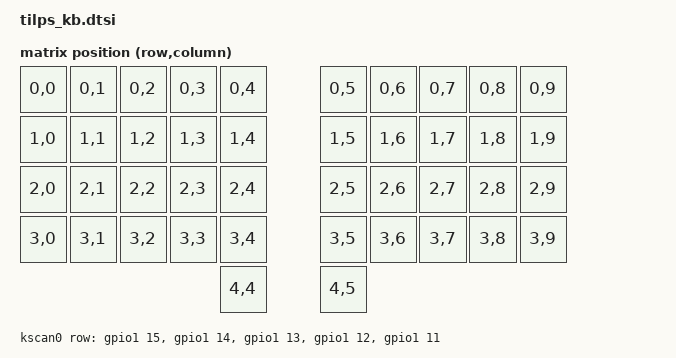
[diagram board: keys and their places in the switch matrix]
/*
 * Tilps KB — shared shield definition
 *
 * Hardware:  XIAO nRF52840 (both halves, same PCB mirrored)
 * Matrix:    5 rows × 5 cols per half (21 keys per half, 42 total)
 *            Rows   : P1.15 P1.14 P1.13 P1.12 P1.11
 *            Cols   : P0.03 P0.28 P0.29 P0.04 P0.05
 *            Diodes : column-to-row (col2row)
 *
 * Key layout (42 keys):
 *  Row 0 :  Q    W    E    R    T  |  Y    U    I    O    P
 *  Row 1 :  A    S    D    F    G  |  H    J    K    L    ;
 *  Row 2 :  Z    X    C    V    B  |  N    M    ,    .    /
 *  Row 3 :  LSft Tab  LCt  LAlt GUI|  Spc  Ret  BSp  Del  RAlt
 *  Thumb :                   MO(1) |  MO(2)
 */

#include <dt-bindings/zmk/matrix_transform.h>

/ {
    chosen {
        zmk,kscan = &kscan0;
        zmk,matrix_transform = &default_transform;
    };

    /*
     * Combined 5-row × 10-column transform.
     * Left  half → columns 0-4  (col 0 = outermost, col 4 = innermost)
     * Right half → columns 5-9  (col 5 = innermost, col 9 = outermost)
     * Thumb keys: RC(4,4) = left thumb, RC(4,5) = right thumb
     */
    default_transform: keymap_transform_0 {
        compatible = "zmk,matrix-transform";
        columns = <10>;
        rows = <5>;
        map = <
RC(0,0) RC(0,1) RC(0,2) RC(0,3) RC(0,4)   RC(0,5) RC(0,6) RC(0,7) RC(0,8) RC(0,9)
RC(1,0) RC(1,1) RC(1,2) RC(1,3) RC(1,4)   RC(1,5) RC(1,6) RC(1,7) RC(1,8) RC(1,9)
RC(2,0) RC(2,1) RC(2,2) RC(2,3) RC(2,4)   RC(2,5) RC(2,6) RC(2,7) RC(2,8) RC(2,9)
RC(3,0) RC(3,1) RC(3,2) RC(3,3) RC(3,4)   RC(3,5) RC(3,6) RC(3,7) RC(3,8) RC(3,9)
                                RC(4,4)    RC(4,5)
        >;
    };

    /*
     * Keyboard scan — rows defined here (same on both halves).
     * Each overlay adds the col-gpios appropriate for that half.
     * Row GPIOs: P1.15 P1.14 P1.13 P1.12 P1.11 (diode col2row → rows = inputs)
     */
    kscan0: kscan {
        compatible = "zmk,kscan-gpio-matrix";
        wakeup-source;
        diode-direction = "col2row";

        row-gpios
            = <&gpio1 15 (GPIO_ACTIVE_HIGH | GPIO_PULL_DOWN)>   /* Row0 – P1.15 */
            , <&gpio1 14 (GPIO_ACTIVE_HIGH | GPIO_PULL_DOWN)>   /* Row1 – P1.14 */
            , <&gpio1 13 (GPIO_ACTIVE_HIGH | GPIO_PULL_DOWN)>   /* Row2 – P1.13 */
            , <&gpio1 12 (GPIO_ACTIVE_HIGH | GPIO_PULL_DOWN)>   /* Row3 – P1.12 */
            , <&gpio1 11 (GPIO_ACTIVE_HIGH | GPIO_PULL_DOWN)>   /* Row4 – P1.11 (thumb) */
            ;
    };

    /*
     * Battery voltage divider
     *   VBAT → R1 (805 kΩ) → sense node → R2 (2 MΩ) → GND
     *   sense pin = P0.02 / AIN0 / ADC channel 0
     */
    vbatt: vbatt {
        compatible = "zmk,battery-voltage-divider";
        io-channels = <&adc 0>;
        output-ohms = <2000000>;
        full-ohms = <2805000>;
    };
};
